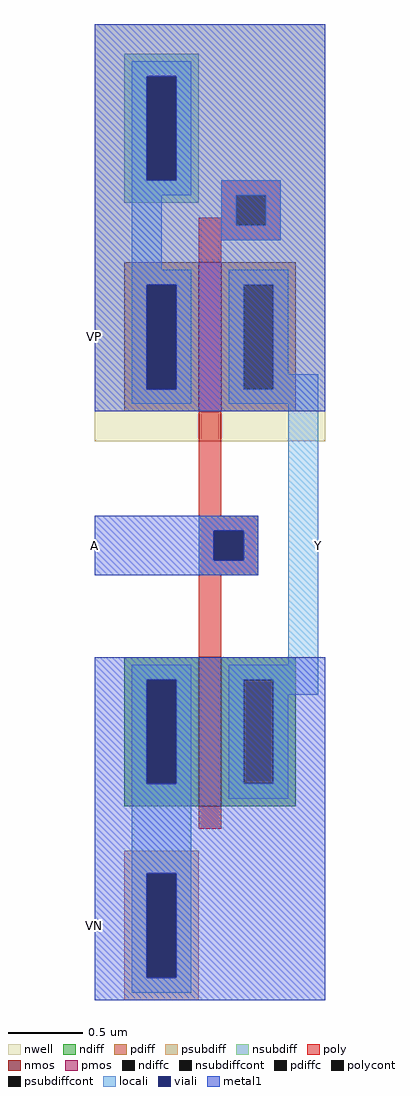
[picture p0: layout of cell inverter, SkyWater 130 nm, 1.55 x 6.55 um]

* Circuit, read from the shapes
.subckt inverter A Y VP VN
XM1 Y A VN VN sky130_fd_pr__nfet_01v8 w=1 l=0.15
XM2 Y A VP VP sky130_fd_pr__pfet_01v8 w=1 l=0.15
.ends

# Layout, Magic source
magic
tech sky130A
<< nwell >>
rect -70 245 85 525
<< nmos >>
rect 0 0 15 100
<< pmos >>
rect 0 265 15 365
<< ndiff >>
rect -50 85 0 100
rect -50 15 -35 85
rect -15 15 0 85
rect -50 0 0 15
rect 15 85 65 100
rect 15 15 30 85
rect 50 15 65 85
rect 15 0 65 15
<< pdiff >>
rect -50 350 0 365
rect -50 280 -35 350
rect -15 280 0 350
rect -50 265 0 280
rect 15 350 65 365
rect 15 280 30 350
rect 50 280 65 350
rect 15 265 65 280
<< ndiffc >>
rect -35 15 -15 85
rect 30 15 50 85
<< pdiffc >>
rect -35 280 -15 350
rect 30 280 50 350
<< psubdiff >>
rect -50 -45 0 -30
rect -50 -115 -35 -45
rect -15 -115 0 -45
rect -50 -130 0 -115
<< nsubdiff >>
rect -50 490 0 505
rect -50 420 -35 490
rect -15 420 0 490
rect -50 405 0 420
<< psubdiffcont >>
rect -35 -115 -15 -45
<< nsubdiffcont >>
rect -35 420 -15 490
<< poly >>
rect 15 410 55 420
rect 15 395 25 410
rect 0 390 25 395
rect 45 390 55 410
rect 0 380 55 390
rect 0 365 15 380
rect 0 195 15 265
rect 0 185 40 195
rect 0 165 10 185
rect 30 165 40 185
rect 0 155 40 165
rect 0 100 15 155
rect 0 -15 15 0
<< polycont >>
rect 25 390 45 410
rect 10 165 30 185
<< locali >>
rect -45 490 -5 500
rect -45 420 -35 490
rect -15 420 -5 490
rect -45 410 -5 420
rect 15 410 55 420
rect -45 360 -25 410
rect 15 390 25 410
rect 45 390 55 410
rect 15 380 55 390
rect -45 350 -5 360
rect -45 280 -35 350
rect -15 280 -5 350
rect -45 270 -5 280
rect 20 350 60 360
rect 20 280 30 350
rect 50 290 60 350
rect 50 280 80 290
rect 20 270 80 280
rect 0 185 40 195
rect 0 165 10 185
rect 30 165 40 185
rect 0 155 40 165
rect 60 95 80 270
rect -45 85 -5 95
rect -45 15 -35 85
rect -15 15 -5 85
rect -45 -45 -5 15
rect 20 85 80 95
rect 20 15 30 85
rect 50 75 80 85
rect 50 15 60 75
rect 20 5 60 15
rect -45 -115 -35 -45
rect -15 -115 -5 -45
rect -45 -125 -5 -115
<< viali >>
rect -35 420 -15 490
rect -35 280 -15 350
rect 10 165 30 185
rect -35 15 -15 85
rect -35 -115 -15 -45
<< metal1 >>
rect -70 490 85 525
rect -70 420 -35 490
rect -15 420 85 490
rect -70 350 85 420
rect -70 280 -35 350
rect -15 280 85 350
rect -70 265 85 280
rect -70 185 40 195
rect -70 165 10 185
rect 30 165 40 185
rect -70 155 40 165
rect -70 85 85 100
rect -70 15 -35 85
rect -15 15 85 85
rect -70 -45 85 15
rect -70 -115 -35 -45
rect -15 -115 85 -45
rect -70 -130 85 -115
<< labels >>
rlabel metal1 -70 -80 -70 -80 7 VN
port 4 w
rlabel metal1 -70 175 -70 175 7 A
port 1 w
rlabel metal1 -70 315 -70 315 7 VP
port 3 w
rlabel locali 80 175 80 175 3 Y
port 2 e
<< end >>
